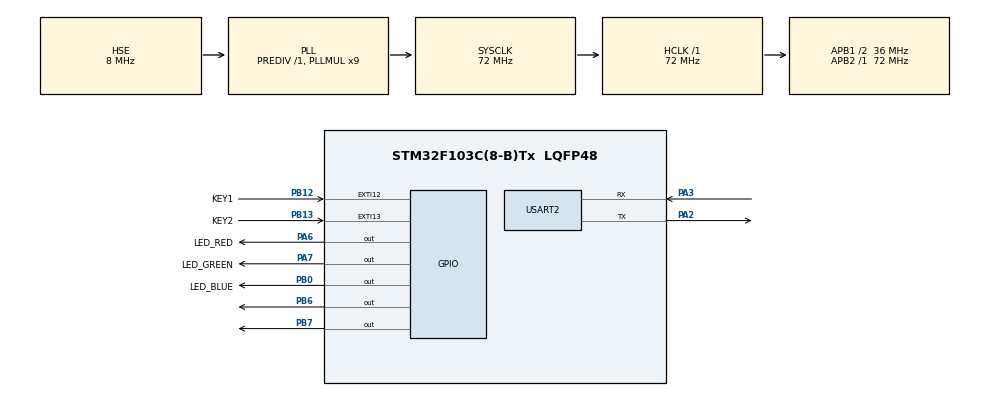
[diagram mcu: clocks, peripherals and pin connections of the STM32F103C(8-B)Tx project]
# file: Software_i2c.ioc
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Dma.Request0=USART2_RX
Dma.Request1=USART2_TX
Dma.USART2_RX.0.Direction=DMA_PERIPH_TO_MEMORY
Dma.USART2_RX.0.Instance=DMA1_Channel6
Dma.USART2_RX.0.MemDataAlignment=DMA_MDATAALIGN_BYTE
Dma.USART2_RX.0.MemInc=DMA_MINC_ENABLE
Dma.USART2_RX.0.Mode=DMA_NORMAL
Dma.USART2_RX.0.PeriphDataAlignment=DMA_PDATAALIGN_BYTE
Dma.USART2_RX.0.PeriphInc=DMA_PINC_DISABLE
Dma.USART2_RX.0.Priority=DMA_PRIORITY_LOW
Dma.USART2_TX.1.Direction=DMA_MEMORY_TO_PERIPH
Dma.USART2_TX.1.Instance=DMA1_Channel7
Dma.USART2_TX.1.MemDataAlignment=DMA_MDATAALIGN_BYTE
Dma.USART2_TX.1.MemInc=DMA_MINC_ENABLE
Dma.USART2_TX.1.Mode=DMA_NORMAL
Dma.USART2_TX.1.PeriphDataAlignment=DMA_PDATAALIGN_BYTE
Dma.USART2_TX.1.PeriphInc=DMA_PINC_DISABLE
Dma.USART2_TX.1.Priority=DMA_PRIORITY_LOW
Mcu.Family=STM32F1
Mcu.Name=STM32F103C(8-B)Tx
Mcu.Package=LQFP48
NVIC.DMA1_Channel6_IRQn=true\:0\:0\:false\:false\:true\:false\:true\:true
NVIC.DMA1_Channel7_IRQn=true\:0\:0\:false\:false\:true\:false\:true\:true
NVIC.EXTI15_10_IRQn=true\:0\:0\:false\:false\:true\:true\:true\:true
NVIC.PriorityGroup=NVIC_PRIORITYGROUP_4
NVIC.USART2_IRQn=true\:0\:0\:false\:false\:true\:true\:true\:true
PA13.Mode=Serial_Wire
PA13.Signal=SYS_JTMS-SWDIO
PA14.Mode=Serial_Wire
PA14.Signal=SYS_JTCK-SWCLK
PA2.Mode=Asynchronous
PA2.Signal=USART2_TX
PA3.Mode=Asynchronous
PA3.Signal=USART2_RX
PA6.GPIO_Label=LED_RED
PA6.Signal=GPIO_Output
PA7.GPIO_Label=LED_GREEN
PA7.Signal=GPIO_Output
PB0.GPIO_Label=LED_BLUE
PB0.Signal=GPIO_Output
PB12.GPIO_Label=KEY1
PB12.GPIO_ModeDefaultEXTI=GPIO_MODE_IT_FALLING
PB12.GPIO_PuPd=GPIO_PULLUP
PB12.Signal=GPXTI12
PB13.GPIO_Label=KEY2
PB13.GPIO_ModeDefaultEXTI=GPIO_MODE_IT_FALLING
PB13.GPIO_PuPd=GPIO_PULLUP
PB13.Signal=GPXTI13
PB6.GPIO_ModeDefaultOutputPP=GPIO_MODE_OUTPUT_OD
PB6.GPIO_PuPd=GPIO_PULLUP
PB6.Signal=GPIO_Output
PB7.GPIO_ModeDefaultOutputPP=GPIO_MODE_OUTPUT_OD
PB7.GPIO_PuPd=GPIO_PULLUP
PB7.Signal=GPIO_Output
PD0-OSC_IN.Mode=HSE-External-Oscillator
PD0-OSC_IN.Signal=RCC_OSC_IN
PD1-OSC_OUT.Mode=HSE-External-Oscillator
PD1-OSC_OUT.Signal=RCC_OSC_OUT
ProjectManager.HeapSize=0x200
ProjectManager.StackSize=0x400
ProjectManager.TargetToolchain=STM32CubeIDE
RCC.AHBFreq_Value=72000000
RCC.APB1CLKDivider=RCC_HCLK_DIV2
RCC.APB1Freq_Value=36000000
RCC.APB1TimFreq_Value=72000000
RCC.APB2Freq_Value=72000000
RCC.APB2TimFreq_Value=72000000
RCC.HCLKFreq_Value=72000000
RCC.PLLMUL=RCC_PLL_MUL9
RCC.PLLSourceVirtual=RCC_PLLSOURCE_HSE
RCC.SYSCLKFreq_VALUE=72000000
RCC.SYSCLKSource=RCC_SYSCLKSOURCE_PLLCLK
RCC.USBFreq_Value=72000000
USART2.VirtualMode=VM_ASYNC
board=custom

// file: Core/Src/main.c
/* USER CODE BEGIN Header */
/**
  ******************************************************************************
  * @file           : main.c
  * @brief          : Main program body (软件 I2C 版 + 结构体解析 + DMA反馈)
  ******************************************************************************
  */
/* USER CODE END Header */
#include "main.h"
#include "dma.h"
#include "usart.h"
#include "gpio.h"

/* USER CODE BEGIN Includes */
#include <stdio.h>
#include <string.h>
#include "OLED.h"          /* ★ 软件 I2C 驱动 */
/* USER CODE END Includes */

/* USER CODE BEGIN PTD */
/* ★ 作业要求2：自行定义结构体接收数据包 */
typedef struct {
    uint8_t Header;    // 帧头 AA
    uint8_t Run;       // 运行标志
    uint8_t Dir;       // 方向标志
    uint8_t Step_L;    // 间隔低字节
    uint8_t Step_H;    // 间隔高字节
    uint8_t Checksum;  // 校验和
} FlowLight_Packet_t;
/* USER CODE END PTD */

/* USER CODE BEGIN PV */
uint8_t  g_is_running = 1;
uint8_t  g_direction  = 0;
uint16_t g_step_ms    = 300;
uint8_t  g_current_led_idx = 0;
uint8_t  g_last_led_idx    = 0;
uint32_t g_tick_count      = 0;

uint8_t  g_uart_rx_buf[6];      // 串口接收缓冲
uint8_t  g_uart_tx_buf[64];     // 串口发送缓冲
uint32_t g_oled_tick = 0;
volatile uint8_t g_need_refresh = 1; /* ★ 软件I2C防卡死：OLED刷新标志 */
/* USER CODE END PV */

void SystemClock_Config(void);
/* USER CODE BEGIN PFP */
void Print_Status_To_UART(void);
/* USER CODE END PFP */

int main(void)
{

  /* MCU Configuration--------------------------------------------------------*/

  /* Reset of all peripherals, Initializes the Flash interface and the Systick. */
  HAL_Init();

  /* Configure the system clock */
  SystemClock_Config();

  /* Initialize all configured peripherals */
  MX_GPIO_Init();
  MX_DMA_Init();
  MX_USART2_UART_Init();
  /* USER CODE BEGIN 2 */

  // /* ★ 所有初始化完成后，再读一次寄存器 */
  // uint32_t crl = GPIOB->CRL;
  // char dbg[64];
  // sprintf(dbg, "Final CRL=0x%08X PB0=%X PB6=%X PB7=%X\r\n",
  //         crl, (crl>>0)&0x0F, (crl>>24)&0x0F, (crl>>28)&0x0F);
  // HAL_UART_Transmit(&huart2, (uint8_t*)dbg, strlen(dbg), 100);
  // HAL_Delay(3000);

  OLED_Init();             /* ★ 软件 I2C: 无参数 */
  /* ★ 强制修复 PB0 */
  GPIO_InitTypeDef fix = {0};
  fix.Pin   = GPIO_PIN_0;
  fix.Mode  = GPIO_MODE_OUTPUT_PP;
  fix.Pull  = GPIO_NOPULL;
  fix.Speed = GPIO_SPEED_FREQ_LOW;
  HAL_GPIO_Init(GPIOB, &fix);

  OLED_Show_Status(g_is_running, g_direction, g_step_ms, g_current_led_idx + 1);

  HAL_UART_Transmit(&huart2, (uint8_t*)"HELLO\r\n", 7, 1000);
  Print_Status_To_UART();

  /* 开启串口中断接收, 每次等待接收 6 个字节 */
  HAL_UART_Receive_IT(&huart2, g_uart_rx_buf, 6);

  /* USER CODE END 2 */

  /* Infinite loop */
  /* USER CODE BEGIN WHILE */
  while (1)
  {
    /* 1. 流水灯逻辑（不受OLED影响） */
    if (g_is_running && HAL_GetTick() - g_tick_count >= g_step_ms) {
      g_tick_count = HAL_GetTick();

      switch (g_last_led_idx) {
      case 0: HAL_GPIO_WritePin(GPIOA, GPIO_PIN_6, GPIO_PIN_RESET); break;
      case 1: HAL_GPIO_WritePin(GPIOA, GPIO_PIN_7, GPIO_PIN_RESET); break;
      // case 2: HAL_GPIO_WritePin(GPIOB, GPIO_PIN_0, GPIO_PIN_RESET); break;  LED_BLUE_GPIO_Port
      case 2: HAL_GPIO_WritePin(LED_BLUE_GPIO_Port, GPIO_PIN_0, GPIO_PIN_RESET); break;
      default: break;
      }

      switch (g_current_led_idx) {
      case 0: HAL_GPIO_WritePin(GPIOA, GPIO_PIN_6, GPIO_PIN_SET); break;
      case 1: HAL_GPIO_WritePin(GPIOA, GPIO_PIN_7, GPIO_PIN_SET); break;
      case 2: HAL_GPIO_WritePin(GPIOB, GPIO_PIN_0, GPIO_PIN_SET); break;
      default: break;
      }

      g_last_led_idx = g_current_led_idx;
      if (g_direction == 0) {
        g_current_led_idx = (g_current_led_idx + 1) % 3;
      } else {
        g_current_led_idx = (g_current_led_idx - 1 + 3) % 3;
      }

      g_need_refresh = 1; /* LED状态变了，标记需要刷新OLED */
    }

    /* ★ 2. OLED 独立刷新（解决软件I2C卡顿的核心） */
    if (g_need_refresh && (HAL_GetTick() - g_oled_tick >= 200)) {
      g_oled_tick = HAL_GetTick();
      g_need_refresh = 0;
      OLED_Show_Status(g_is_running, g_direction, g_step_ms, g_current_led_idx + 1);
    }
    /* USER CODE END WHILE */

  }
}

void SystemClock_Config(void)
{
  RCC_OscInitTypeDef RCC_OscInitStruct = {0};
  RCC_ClkInitTypeDef RCC_ClkInitStruct = {0};

  /** Initializes the RCC Oscillators according to the specified parameters
  * in the RCC_OscInitTypeDef structure.
  */
  RCC_OscInitStruct.OscillatorType = RCC_OSCILLATORTYPE_HSE;
  RCC_OscInitStruct.HSEState = RCC_HSE_ON;
  RCC_OscInitStruct.HSEPredivValue = RCC_HSE_PREDIV_DIV1;
  RCC_OscInitStruct.HSIState = RCC_HSI_ON;
  RCC_OscInitStruct.PLL.PLLState = RCC_PLL_ON;
  RCC_OscInitStruct.PLL.PLLSource = RCC_PLLSOURCE_HSE;
  RCC_OscInitStruct.PLL.PLLMUL = RCC_PLL_MUL9;
  if (HAL_RCC_OscConfig(&RCC_OscInitStruct) != HAL_OK)
  {
    Error_Handler();
  }

  /** Initializes the CPU, AHB and APB buses clocks
  */
  RCC_ClkInitStruct.ClockType = RCC_CLOCKTYPE_HCLK|RCC_CLOCKTYPE_SYSCLK
                              |RCC_CLOCKTYPE_PCLK1|RCC_CLOCKTYPE_PCLK2;
  RCC_ClkInitStruct.SYSCLKSource = RCC_SYSCLKSOURCE_PLLCLK;
  RCC_ClkInitStruct.AHBCLKDivider = RCC_SYSCLK_DIV1;
  RCC_ClkInitStruct.APB1CLKDivider = RCC_HCLK_DIV2;
  RCC_ClkInitStruct.APB2CLKDivider = RCC_HCLK_DIV1;

  if (HAL_RCC_ClockConfig(&RCC_ClkInitStruct, FLASH_LATENCY_2) != HAL_OK)
  {
    Error_Handler();
  }
}

/* USER CODE BEGIN 4 */

/* ★ 作业要求2 & 3：结构体解析 + 校验和计算 */
void Process_Packet(FlowLight_Packet_t *pkt)
{
    uint8_t calc_check = pkt->Header + pkt->Run + pkt->Dir + pkt->Step_L + pkt->Step_H;

    /* 校验通过才执行 */
    if (pkt->Header == 0xAA && calc_check == pkt->Checksum)
    {
        g_is_running = pkt->Run;
        g_direction  = pkt->Dir;
        g_step_ms    = ((uint16_t)pkt->Step_H << 8) | pkt->Step_L;

        /* 限制间隔范围 100~2000ms */
        if (g_step_ms < 100) g_step_ms = 100;
        if (g_step_ms > 2000) g_step_ms = 2000;

        Print_Status_To_UART(); /* 作业要求4：反馈状态 */
        g_need_refresh = 1;     /* 标记刷新OLED */
    }
    /* 校验失败：什么都不做（作业要求3） */
}

/* 串口接收回调 */
void HAL_UART_RxCpltCallback(UART_HandleTypeDef *huart)
{
  if (huart->Instance == USART2)
  {
    FlowLight_Packet_t *pkt = (FlowLight_Packet_t *)g_uart_rx_buf;
    Process_Packet(pkt);  /* ★ 交给结构体处理函数 */

    HAL_UART_Receive_IT(&huart2, g_uart_rx_buf, 6); /* 重新挂接收 */
  }
}

/* ★ 作业要求4（选做）：使用 DMA 发送反馈，替代 HAL_UART_Transmit_IT */
void Print_Status_To_UART(void)
{
  char *state_str = g_is_running ? "RUN" : "STOP";
  char *dir_str   = (g_direction == 0) ? "FWD" : "REV";

  uint16_t len = sprintf((char*)g_uart_tx_buf,
                         "STATE=%s,DIR=%s,STEP=%d,LED=%d\r\n",
                         state_str, dir_str, g_step_ms, g_current_led_idx + 1);

  HAL_UART_Transmit_DMA(&huart2, g_uart_tx_buf, len); /* ★ DMA发送 */
}

/* 按键回调 */
/* 按键回调（带软件消抖） */
void HAL_GPIO_EXTI_Callback(uint16_t GPIO_Pin)
{
  static uint32_t last_key1_tick = 0;
  static uint32_t last_key2_tick = 0;

  if (GPIO_Pin == GPIO_PIN_12) {        /* KEY1 运行/暂停 */
    if (HAL_GetTick() - last_key1_tick > 200) {   /* ★ 200ms 内只响应一次 */
      last_key1_tick = HAL_GetTick();
      g_is_running = !g_is_running;
      Print_Status_To_UART();
      g_need_refresh = 1;
    }
  } else if (GPIO_Pin == GPIO_PIN_13) { /* KEY2 正/反向 */
    if (HAL_GetTick() - last_key2_tick > 200) {   /* ★ 200ms 内只响应一次 */
      last_key2_tick = HAL_GetTick();
      g_direction = !g_direction;
      Print_Status_To_UART();
      g_need_refresh = 1;
    }
  }
}

/* USER CODE END 4 */

void Error_Handler(void)
{
  __disable_irq();
  while (1)
  {
  }
}
